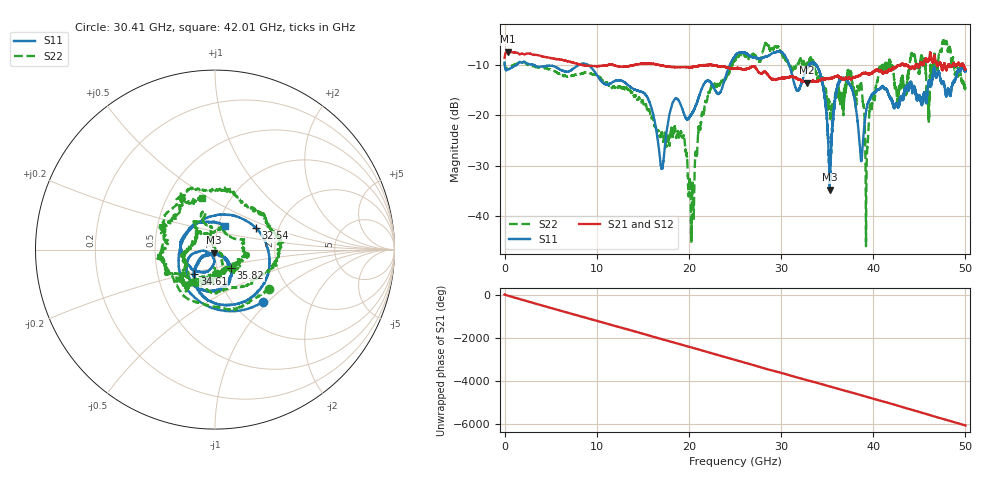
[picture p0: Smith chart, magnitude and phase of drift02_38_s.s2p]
!Created with skrf (http://scikit-rf.org).
# Hz S RI R 50.0
!freq ReS11 ImS11 ReS21 ImS21 ReS12 ImS12 ReS22 ImS22
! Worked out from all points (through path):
!   10001 points, 300 kHz to 50 GHz, reference 50 ohm
!   highest |S21| = -7.31 dB at 325.3 MHz (marker M1); lowest = -13.5 dB at 32.78 GHz (marker M2)
!   group delay of S21, straight-line fit = 335 ps
!   lowest |S11| = -34.8 dB at 35.28 GHz (marker M3), VSWR 1.04, Z = 49.6 - j1.76 ohm
!   |S11| at or under -10 dB: 3.231 GHz to 8.007 GHz (4.776 GHz wide, 85 % of centre); 9.106 GHz to 24.41 GHz (15.31 GHz wide, 91.3 % of centre); 33.83 GHz to end of sweep (the widest 3 of 8)
!   |S22| runs from -46.0 to -5.0 dB; largest |S21 - S12| = 0.013
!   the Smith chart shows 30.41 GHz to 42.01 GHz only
!   S11 on the Smith chart (normalised r, x): 30.41 GHz: 1.35, -0.94; 32.54 GHz: 1.53, +0.39; 34.61 GHz: 0.77, -0.22; 35.82 GHz: 1.17, -0.25; 42.01 GHz: 1.08, +0.29
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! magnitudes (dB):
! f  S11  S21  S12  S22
! 300 kHz  -9.5  -8.5  -8.4  -9.4
! 325.3 MHz  -10.9  -7.3  -7.3  -10.6
! 8.335 GHz  -9.7  -9.9  -9.9  -11.6
! 16.67 GHz  -25.6  -9.9  -9.9  -23.0
! 19.31 GHz  -18.8  -10.4  -10.4  -24.4
! 20.35 GHz  -19.5  -10.4  -10.4  -34.7
! 21.93 GHz  -13.1  -9.9  -9.9  -17.3
! 25 GHz  -8.2  -10.6  -10.6  -9.0
! 30.41 GHz  -8.1  -12.6  -12.5  -8.7
! 32.54 GHz  -11.8  -13.2  -13.4  -9.9
! 32.78 GHz  -10.7  -13.5  -13.5  -9.8
! 33.34 GHz  -9.6  -13.2  -13.2  -9.1
! 34.61 GHz  -15.0  -12.8  -12.7  -13.8
! 35.28 GHz  -34.8  -12.5  -12.6  -19.0
! 35.82 GHz  -17.2  -12.3  -12.3  -16.6
! 37.34 GHz  -13.5  -12.5  -12.5  -11.8
! 38.54 GHz  -26.0  -12.0  -12.0  -14.1
! 39.31 GHz  -18.2  -11.6  -11.6  -28.2
! 41.67 GHz  -15.8  -10.9  -11.1  -9.6
! 42.01 GHz  -16.9  -10.8  -10.8  -10.6
! 47.77 GHz  -14.4  -9.8  -9.7  -5.6
! 50 GHz  -11.2  -10.8  -10.8  -14.3
